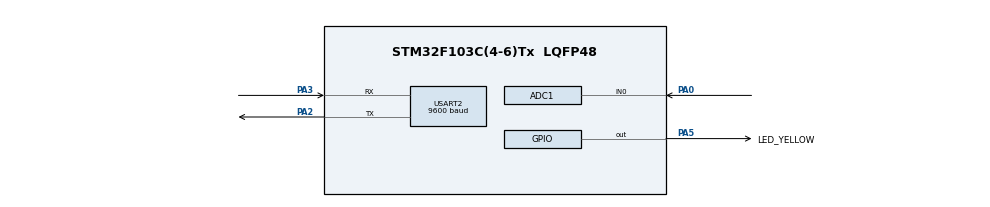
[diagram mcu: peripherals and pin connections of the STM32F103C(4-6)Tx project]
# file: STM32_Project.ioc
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ADC1.Channel-1\#ChannelRegularConversion=ADC_CHANNEL_0
ADC1.NbrOfConversionFlag=1
ADC1.Rank-1\#ChannelRegularConversion=1
ADC1.SamplingTime-1\#ChannelRegularConversion=ADC_SAMPLETIME_1CYCLE_5
ADC1.master=1
Mcu.Family=STM32F1
Mcu.Name=STM32F103C(4-6)Tx
Mcu.Package=LQFP48
NVIC.PriorityGroup=NVIC_PRIORITYGROUP_4
NVIC.USART2_IRQn=true\:0\:0\:false\:false\:true\:true\:true
PA0-WKUP.Signal=ADCx_IN0
PA2.Mode=Asynchronous
PA2.Signal=USART2_TX
PA3.Mode=Asynchronous
PA3.Signal=USART2_RX
PA5.GPIO_Label=LED_YELLOW
PA5.Signal=GPIO_Output
ProjectManager.HeapSize=0x200
ProjectManager.StackSize=0x400
ProjectManager.TargetToolchain=STM32CubeIDE
RCC.APB1Freq_Value=8000000
RCC.APB2Freq_Value=8000000
SH.ADCx_IN0.0=ADC1_IN0,IN0
TIM2.Prescaler=7999
USART2.BaudRate=9600
USART2.VirtualMode=VM_ASYNC
VP_SYS_VS_ND.Mode=No_Debug
VP_TIM2_VS_ClockSourceINT.Mode=Internal
board=custom

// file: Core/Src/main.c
/* USER CODE BEGIN Header */
/**
  ******************************************************************************
  * @file           : main.c
  * @brief          : Main program body
  ******************************************************************************
  * @attention
  *
  * <h2><center>&copy; Copyright (c) 2023 STMicroelectronics.
  * All rights reserved.</center></h2>
  *
  * This software component is licensed by ST under BSD 3-Clause license,
  * the "License"; You may not use this file except in compliance with the
  * License. You may obtain a copy of the License at:
  *                        opensource.org/licenses/BSD-3-Clause
  *
  ******************************************************************************
  */
/* USER CODE END Header */
/* USER CODE END Header */
#include "main.h"
#include "s.h"
#include "global.h"

ADC_HandleTypeDef hadc1;

TIM_HandleTypeDef htim2;

UART_HandleTypeDef huart2;

void SystemClock_Config(void);
static void MX_GPIO_Init(void);
static void MX_ADC1_Init(void);
static void MX_USART2_UART_Init(void);
static void MX_TIM2_Init(void);

/* USER CODE BEGIN 0 */
#define MAX_BUFFER_SIZE  30

uint8_t buffer[MAX_BUFFER_SIZE];
uint8_t index_buffer = 0;
uint8_t buffer_flag = 0;
void HAL_UART_RxCpltCallback(UART_HandleTypeDef *huart){
	if(huart->Instance == USART2){
		buffer[index_buffer++] = temp;
		if(index_buffer == 30) index_buffer = 0;
		buffer_flag = 1;
		HAL_UART_Receive_IT(&huart2, &temp, 1);
	}
}
void led(){
	HAL_GPIO_TogglePin(LED_YELLOW_GPIO_Port, LED_YELLOW_Pin);
}
void HAL_TIM_PeriodElapsedCallback(TIM_HandleTypeDef *htim2){
	SCH_Update();
	timerRun();
}
/* USER CODE END 0 */

int main(void)
{

  /* MCU Configuration--------------------------------------------------------*/

  /* Reset of all peripherals, Initializes the Flash interface and the Systick. */
  HAL_Init();

  /* Configure the system clock */
  SystemClock_Config();

  /* Initialize all configured peripherals */
  MX_GPIO_Init();
  MX_ADC1_Init();
  MX_USART2_UART_Init();
  MX_TIM2_Init();
  /* USER CODE BEGIN 2 */
  HAL_TIM_Base_Start_IT(&htim2);
  HAL_UART_Receive_IT(&huart2, &temp, 1);
    HAL_ADC_Start(&hadc1);
  /* USER CODE END 2 */

  /* Infinite loop */
  /* USER CODE BEGIN WHILE */

 SCH_Init();
 SCH_Add_Task(led, 200, 10);
 status_cmd = WAIT_HEADER;
 status_communicate = WAIT_CMD_RST;
  while (1)
  {
  SCH_Dispatch_Tasks();

  if( buffer_flag == 1) {
   command_parser_fsm () ;
  buffer_flag = 0;
   }
  uart_communication_fsm();
    /* USER CODE END WHILE */

  }
}

void SystemClock_Config(void)
{
  RCC_OscInitTypeDef RCC_OscInitStruct = {0};
  RCC_ClkInitTypeDef RCC_ClkInitStruct = {0};
  RCC_PeriphCLKInitTypeDef PeriphClkInit = {0};

  /** Initializes the RCC Oscillators according to the specified parameters
  * in the RCC_OscInitTypeDef structure.
  */
  RCC_OscInitStruct.OscillatorType = RCC_OSCILLATORTYPE_HSI;
  RCC_OscInitStruct.HSIState = RCC_HSI_ON;
  RCC_OscInitStruct.HSICalibrationValue = RCC_HSICALIBRATION_DEFAULT;
  RCC_OscInitStruct.PLL.PLLState = RCC_PLL_NONE;
  if (HAL_RCC_OscConfig(&RCC_OscInitStruct) != HAL_OK)
  {
    Error_Handler();
  }
  /** Initializes the CPU, AHB and APB buses clocks
  */
  RCC_ClkInitStruct.ClockType = RCC_CLOCKTYPE_HCLK|RCC_CLOCKTYPE_SYSCLK
                              |RCC_CLOCKTYPE_PCLK1|RCC_CLOCKTYPE_PCLK2;
  RCC_ClkInitStruct.SYSCLKSource = RCC_SYSCLKSOURCE_HSI;
  RCC_ClkInitStruct.AHBCLKDivider = RCC_SYSCLK_DIV1;
  RCC_ClkInitStruct.APB1CLKDivider = RCC_HCLK_DIV1;
  RCC_ClkInitStruct.APB2CLKDivider = RCC_HCLK_DIV1;

  if (HAL_RCC_ClockConfig(&RCC_ClkInitStruct, FLASH_LATENCY_0) != HAL_OK)
  {
    Error_Handler();
  }
  PeriphClkInit.PeriphClockSelection = RCC_PERIPHCLK_ADC;
  PeriphClkInit.AdcClockSelection = RCC_ADCPCLK2_DIV2;
  if (HAL_RCCEx_PeriphCLKConfig(&PeriphClkInit) != HAL_OK)
  {
    Error_Handler();
  }
}

static void MX_ADC1_Init(void)
{

  ADC_ChannelConfTypeDef sConfig = {0};

  /** Common config
  */
  hadc1.Instance = ADC1;
  hadc1.Init.ScanConvMode = ADC_SCAN_DISABLE;
  hadc1.Init.ContinuousConvMode = ENABLE;
  hadc1.Init.DiscontinuousConvMode = DISABLE;
  hadc1.Init.ExternalTrigConv = ADC_SOFTWARE_START;
  hadc1.Init.DataAlign = ADC_DATAALIGN_RIGHT;
  hadc1.Init.NbrOfConversion = 1;
  if (HAL_ADC_Init(&hadc1) != HAL_OK)
  {
    Error_Handler();
  }
  /** Configure Regular Channel
  */
  sConfig.Channel = ADC_CHANNEL_0;
  sConfig.Rank = ADC_REGULAR_RANK_1;
  sConfig.SamplingTime = ADC_SAMPLETIME_1CYCLE_5;
  if (HAL_ADC_ConfigChannel(&hadc1, &sConfig) != HAL_OK)
  {
    Error_Handler();
  }

}

static void MX_TIM2_Init(void)
{

  TIM_ClockConfigTypeDef sClockSourceConfig = {0};
  TIM_MasterConfigTypeDef sMasterConfig = {0};

  htim2.Instance = TIM2;
  htim2.Init.Prescaler = 7999;
  htim2.Init.CounterMode = TIM_COUNTERMODE_UP;
  htim2.Init.Period = 9;
  htim2.Init.ClockDivision = TIM_CLOCKDIVISION_DIV1;
  htim2.Init.AutoReloadPreload = TIM_AUTORELOAD_PRELOAD_DISABLE;
  if (HAL_TIM_Base_Init(&htim2) != HAL_OK)
  {
    Error_Handler();
  }
  sClockSourceConfig.ClockSource = TIM_CLOCKSOURCE_INTERNAL;
  if (HAL_TIM_ConfigClockSource(&htim2, &sClockSourceConfig) != HAL_OK)
  {
    Error_Handler();
  }
  sMasterConfig.MasterOutputTrigger = TIM_TRGO_RESET;
  sMasterConfig.MasterSlaveMode = TIM_MASTERSLAVEMODE_DISABLE;
  if (HAL_TIMEx_MasterConfigSynchronization(&htim2, &sMasterConfig) != HAL_OK)
  {
    Error_Handler();
  }

}

static void MX_USART2_UART_Init(void)
{

  huart2.Instance = USART2;
  huart2.Init.BaudRate = 9600;
  huart2.Init.WordLength = UART_WORDLENGTH_8B;
  huart2.Init.StopBits = UART_STOPBITS_1;
  huart2.Init.Parity = UART_PARITY_NONE;
  huart2.Init.Mode = UART_MODE_TX_RX;
  huart2.Init.HwFlowCtl = UART_HWCONTROL_NONE;
  huart2.Init.OverSampling = UART_OVERSAMPLING_16;
  if (HAL_UART_Init(&huart2) != HAL_OK)
  {
    Error_Handler();
  }

}

static void MX_GPIO_Init(void)
{
  GPIO_InitTypeDef GPIO_InitStruct = {0};

  /* GPIO Ports Clock Enable */
  __HAL_RCC_GPIOA_CLK_ENABLE();

  /*Configure GPIO pin Output Level */
  HAL_GPIO_WritePin(LED_YELLOW_GPIO_Port, LED_YELLOW_Pin, GPIO_PIN_RESET);

  /*Configure GPIO pin : LED_YELLOW_Pin */
  GPIO_InitStruct.Pin = LED_YELLOW_Pin;
  GPIO_InitStruct.Mode = GPIO_MODE_OUTPUT_PP;
  GPIO_InitStruct.Pull = GPIO_NOPULL;
  GPIO_InitStruct.Speed = GPIO_SPEED_FREQ_LOW;
  HAL_GPIO_Init(LED_YELLOW_GPIO_Port, &GPIO_InitStruct);

}

void Error_Handler(void)
{
  __disable_irq();
  while (1)
  {
  }
}

/************************ (C) COPYRIGHT STMicroelectronics *****END OF FILE****/
